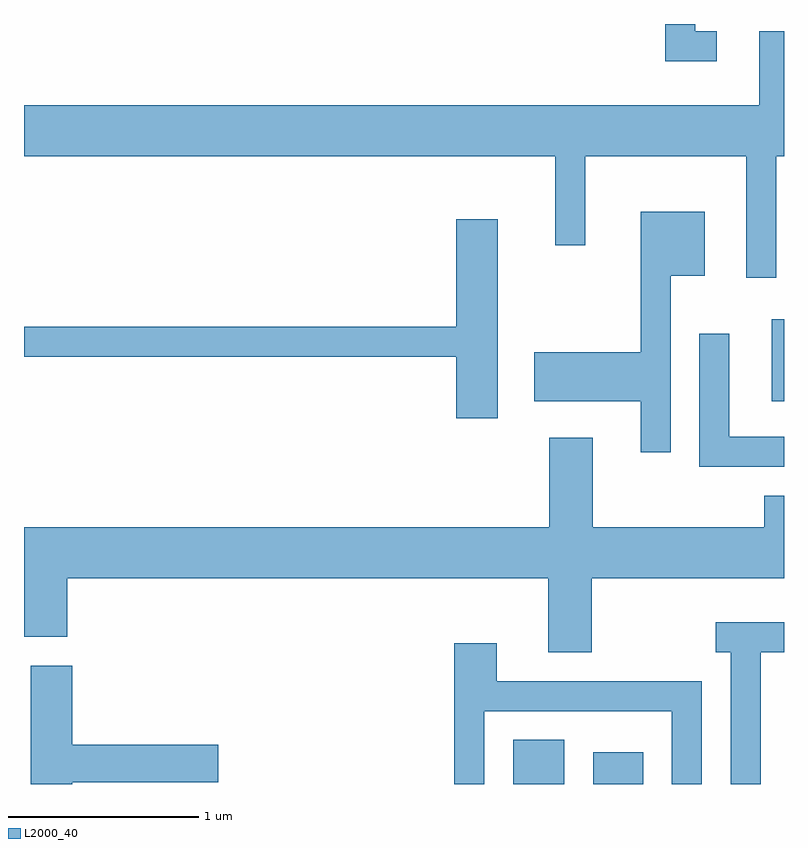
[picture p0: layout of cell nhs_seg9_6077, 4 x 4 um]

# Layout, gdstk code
import gdstk
lib = gdstk.Library(unit=1e-6, precision=1e-09)
def R(c, l, rs):  # rectangles x0, y0, x1, y1
    for r in rs: c.add(gdstk.rectangle(r[:2], r[2:], *l))
def P(c, l, *ps):  # polygons
    for p in ps: c.add(gdstk.Polygon(p, *l))
L2000_40 = (2000, 40)

nhs_seg9_6077 = lib.new_cell('nhs_seg9_6077')
R(nhs_seg9_6077, L2000_40, [(366.186,2068.432,366.454,2068.664), (366.606,2068.432,366.869,2068.599), (367.546,2070.446,367.611,2070.879)])
P(nhs_seg9_6077, L2000_40, [(367.258,2072.394),(367.144,2072.394),(367.144,2072.432),(366.986,2072.432),(366.986,2072.236),(367.258,2072.236)],
  [(367.569,2071.736),(367.611,2071.736),(367.611,2072.394),(367.481,2072.394),(367.481,2072.004),(363.611,2072.004),(363.611,2071.736),(366.406,2071.736),(366.406,2071.268),(366.564,2071.268),(366.564,2071.736),(367.411,2071.736),(367.411,2071.097),(367.569,2071.097)],
  [(367.014,2071.106),(367.194,2071.106),(367.194,2071.444),(366.856,2071.444),(366.856,2070.704),(366.296,2070.704),(366.296,2070.446),(366.856,2070.446),(366.856,2070.178),(367.014,2070.178)],
  [(366.104,2071.404),(365.886,2071.404),(365.886,2070.839),(363.611,2070.839),(363.611,2070.681),(365.886,2070.681),(365.886,2070.356),(366.104,2070.356)],
  [(367.611,2070.259),(367.324,2070.259),(367.324,2070.803),(367.166,2070.803),(367.166,2070.101),(367.611,2070.101)],
  [(366.599,2069.516),(367.611,2069.516),(367.611,2069.949),(367.506,2069.949),(367.506,2069.784),(366.604,2069.784),(366.604,2070.254),(366.376,2070.254),(366.376,2069.784),(363.611,2069.784),(363.611,2069.206),(363.839,2069.206),(363.839,2069.516),(366.371,2069.516),(366.371,2069.126),(366.599,2069.126)],
  [(367.489,2069.126),(367.611,2069.126),(367.611,2069.284),(367.253,2069.284),(367.253,2069.126),(367.331,2069.126),(367.331,2068.432),(367.489,2068.432)],
  [(366.034,2068.816),(367.021,2068.816),(367.021,2068.432),(367.179,2068.432),(367.179,2068.974),(366.099,2068.974),(366.099,2069.174),(365.876,2069.174),(365.876,2068.432),(366.034,2068.432)],
  [(363.864,2068.441),(364.634,2068.441),(364.634,2068.639),(363.864,2068.639),(363.864,2069.054),(363.646,2069.054),(363.646,2068.432),(363.864,2068.432)])

lib.write_gds('nhs_seg9_6077.gds')
